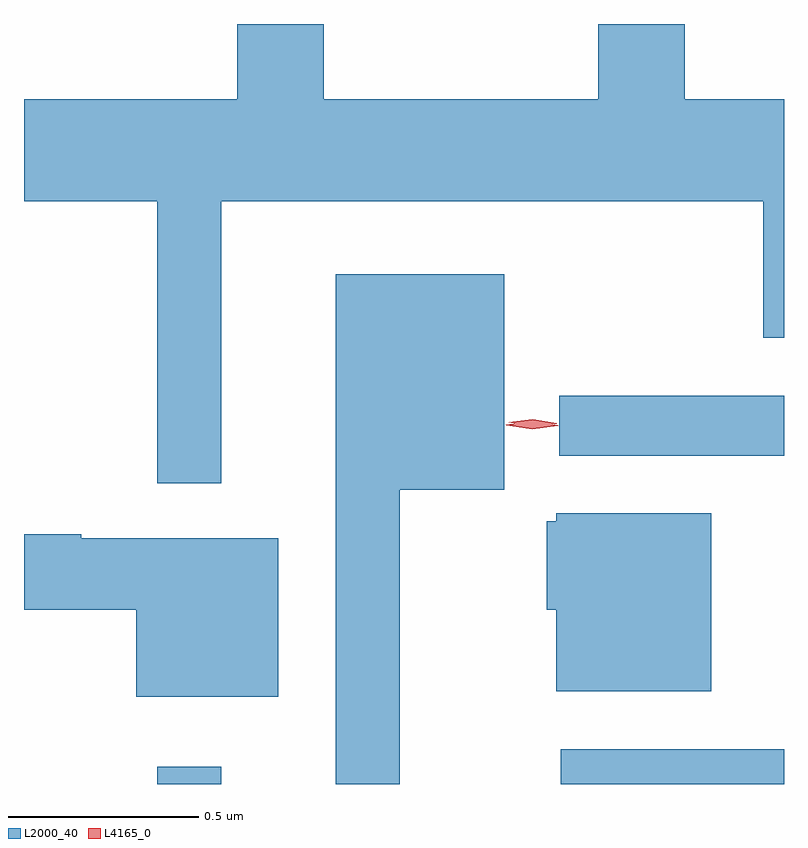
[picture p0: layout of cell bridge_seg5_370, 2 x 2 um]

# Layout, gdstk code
import gdstk
lib = gdstk.Library(unit=1e-6, precision=1e-09)
def R(c, l, rs):  # rectangles x0, y0, x1, y1
    for r in rs: c.add(gdstk.rectangle(r[:2], r[2:], *l))
def P(c, l, *ps):  # polygons
    for p in ps: c.add(gdstk.Polygon(p, *l))
L2000_40 = (2000, 40)
L4165_0 = (4165, 0)

bridge_seg5_370 = lib.new_cell('bridge_seg5_370')
R(bridge_seg5_370, L2000_40, [(748.151,1455.262,748.319,1455.308), (749.213,1455.262,749.8,1455.354), (749.208,1456.126,749.8,1456.284)])
P(bridge_seg5_370, L2000_40, [(748.319,1456.796),(749.746,1456.796),(749.746,1456.436),(749.8,1456.436),(749.8,1457.064),(749.539,1457.064),(749.539,1457.262),(749.311,1457.262),(749.311,1457.064),(748.589,1457.064),(748.589,1457.262),(748.361,1457.262),(748.361,1457.064),(747.8,1457.064),(747.8,1456.796),(748.151,1456.796),(748.151,1456.053),(748.319,1456.053)],
  [(748.789,1456.036),(749.064,1456.036),(749.064,1456.604),(748.621,1456.604),(748.621,1455.262),(748.789,1455.262)],
  [(749.609,1455.974),(749.201,1455.974),(749.201,1455.953),(749.176,1455.953),(749.176,1455.721),(749.201,1455.721),(749.201,1455.506),(749.609,1455.506)],
  [(748.469,1455.909),(747.95,1455.909),(747.95,1455.919),(747.8,1455.919),(747.8,1455.721),(748.096,1455.721),(748.096,1455.491),(748.469,1455.491)])
P(bridge_seg5_370, L4165_0, [(749.137,1456.196),(749.069,1456.206),(749.068,1456.207),(749.069,1456.207),(749.137,1456.216),(749.205,1456.206),(749.206,1456.205),(749.205,1456.205)],
  [(749.139,1456.202),(749.076,1456.214),(749.076,1456.214),(749.076,1456.214),(749.139,1456.222),(749.202,1456.211),(749.202,1456.21),(749.202,1456.21)])

lib.write_gds('bridge_seg5_370.gds')
